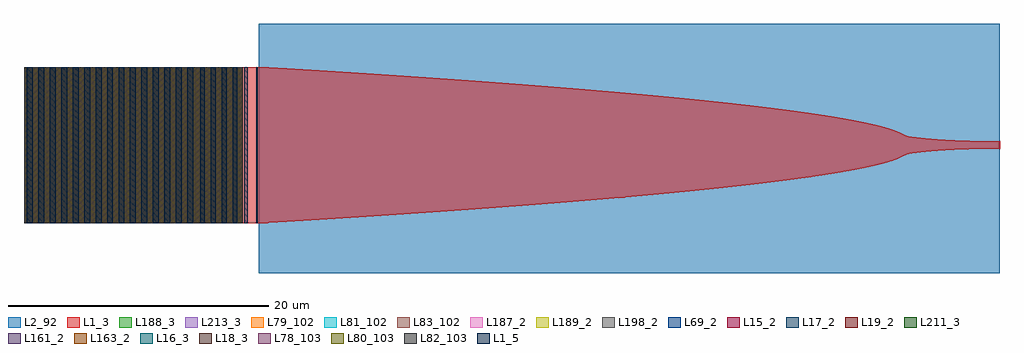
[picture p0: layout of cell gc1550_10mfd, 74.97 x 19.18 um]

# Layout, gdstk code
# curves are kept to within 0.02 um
import gdstk
lib = gdstk.Library(unit=1e-6, precision=1e-09)
def R(c, l, rs):  # rectangles x0, y0, x1, y1
    for r in rs: c.add(gdstk.rectangle(r[:2], r[2:], *l))
def A(c, l, x, y, w, h, nx, ny, dx, dy):  # array of equal rectangles
    R(c, l, [(x+i*dx, y+j*dy, x+i*dx+w, y+j*dy+h) for i in range(nx) for j in range(ny)])
def P(c, l, *ps):  # polygons
    for p in ps: c.add(gdstk.Polygon(p, *l))
L1_3 = (1, 3)
L1_5 = (1, 5)
L2_92 = (2, 92)
L15_2 = (15, 2)
L16_3 = (16, 3)
L17_2 = (17, 2)
L18_3 = (18, 3)
L19_2 = (19, 2)
L69_2 = (69, 2)
L78_103 = (78, 103)
L79_102 = (79, 102)
L80_103 = (80, 103)
L81_102 = (81, 102)
L82_103 = (82, 103)
L83_102 = (83, 102)
L161_2 = (161, 2)
L163_2 = (163, 2)
L187_2 = (187, 2)
L188_3 = (188, 3)
L189_2 = (189, 2)
L198_2 = (198, 2)
L211_3 = (211, 3)
L213_3 = (213, 3)

gc1550_10mfd = lib.new_cell('gc1550_10mfd')
A(gc1550_10mfd, L1_3, -74.968, -5.748, 0.405, 12, 15, 1, 0.88, 0)
A(gc1550_10mfd, L1_3, -61.768, -5.748, 0.645, 12, 4, 1, 0.83, 0)
P(gc1550_10mfd, L1_3, [(-14.613,-2.203),(-14.613,0.552),(0,0.552),(0,-0.048),(-2.11,-0.067),(-3.884,-0.13),(-5.544,-0.247),(-7.003,-0.41),(-7.294,-0.502),(-7.846,-0.765),(-8.291,-0.934),(-9.731,-1.333),(-11.866,-1.765)],
  [(-14.613,0.552),(-14.613,2.707),(-11.866,2.269),(-9.731,1.837),(-8.291,1.438),(-7.846,1.269),(-7.294,1.006),(-7.003,0.914),(-5.588,0.755),(-4.034,0.642),(-2.33,0.576),(-0.388,0.552)],
  [(-29.224,-3.799),(-29.224,4.303),(-24.891,3.903),(-20.966,3.499),(-17.571,3.104),(-14.613,2.707),(-14.614,-2.204),(-17.571,-2.6),(-20.966,-2.995),(-24.891,-3.399)],
  [(-58.448,-5.748),(-58.448,6.252),(-56.928,6.252),(-55.966,6.212),(-46.682,5.628),(-37.422,4.97),(-29.224,4.303),(-29.224,-3.799),(-37.422,-4.466),(-46.682,-5.124),(-55.966,-5.708),(-56.928,-5.748)])
A(gc1550_10mfd, L1_5, -74.748, -5.748, 0.455, 12, 15, 1, 0.88, 0)
A(gc1550_10mfd, L1_5, -61.438, -5.748, 0.365, 12, 4, 1, 0.83, 0)
R(gc1550_10mfd, L1_5, [(-58.043,-5.748,-57.798,6.252), (-57.118,-5.748,-57.018,6.252)])
R(gc1550_10mfd, L2_92, [(-56.935,-9.591,-0.001,9.591)])
R(gc1550_10mfd, L15_2, [(-74.968,-5.748,-58.16,6.252)])
R(gc1550_10mfd, L16_3, [(-74.968,-5.748,-58.16,6.252)])
R(gc1550_10mfd, L17_2, [(-74.968,-5.748,-58.16,6.252)])
R(gc1550_10mfd, L18_3, [(-74.968,-5.748,-58.16,6.252)])
R(gc1550_10mfd, L19_2, [(-74.968,-5.748,-58.16,6.252)])
R(gc1550_10mfd, L69_2, [(-74.968,-5.748,-58.16,6.252)])
R(gc1550_10mfd, L78_103, [(-74.968,-5.748,-58.16,6.252)])
R(gc1550_10mfd, L79_102, [(-74.968,-5.748,-58.16,6.252)])
R(gc1550_10mfd, L80_103, [(-74.968,-5.748,-58.16,6.252)])
R(gc1550_10mfd, L81_102, [(-74.968,-5.748,-58.16,6.252)])
R(gc1550_10mfd, L82_103, [(-74.968,-5.748,-58.16,6.252)])
R(gc1550_10mfd, L83_102, [(-74.968,-5.748,-58.16,6.252)])
R(gc1550_10mfd, L161_2, [(-74.968,-5.748,-58.16,6.252)])
R(gc1550_10mfd, L163_2, [(-74.968,-5.748,-58.16,6.252)])
R(gc1550_10mfd, L187_2, [(-74.968,-5.748,-58.16,6.252)])
R(gc1550_10mfd, L188_3, [(-74.968,-5.748,-58.16,6.252)])
R(gc1550_10mfd, L189_2, [(-74.968,-5.748,-58.16,6.252)])
R(gc1550_10mfd, L198_2, [(-74.968,-5.748,-58.16,6.252)])
R(gc1550_10mfd, L211_3, [(-74.968,-5.748,-58.16,6.252)])
R(gc1550_10mfd, L213_3, [(-74.968,-5.748,-58.16,6.252)])

lib.write_gds('gc1550_10mfd.gds')
